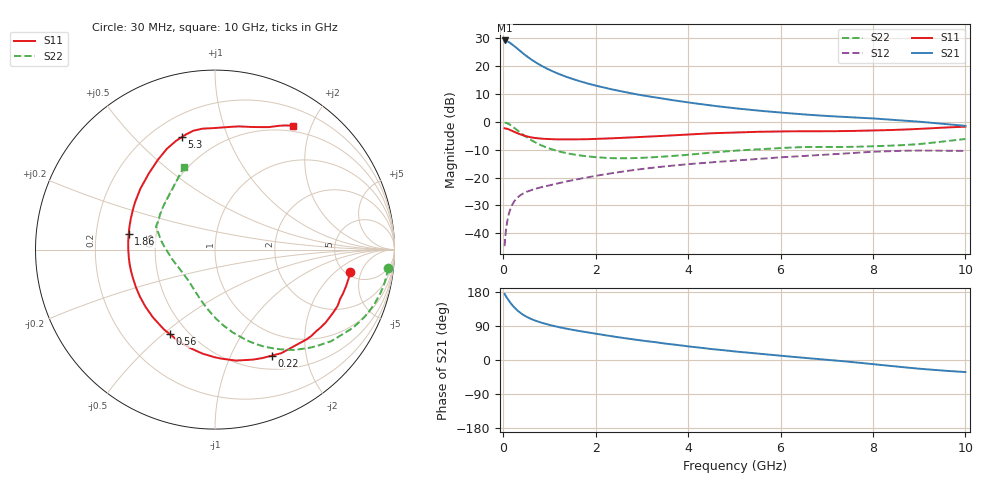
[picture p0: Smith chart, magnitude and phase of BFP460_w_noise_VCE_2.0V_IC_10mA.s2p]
! (c) 2016  Infineon Technologies AG, Munich
! Infineon Technologies  Discrete & RF Semiconductors
! BFP460
! VCE =  2.0 V,  IC =  10 mA
! Common Emitter S-Parameters:  Jan 2016
# GHz  S  MA  R  50
!  f  S11  S21  S12  S22
! GHz  MAG  ANG  MAG  ANG  MAG  ANG  MAG  ANG
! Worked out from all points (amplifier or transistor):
!   229 points, 30 MHz to 10 GHz, reference 50 ohm
!   highest |S21| = 29.1 dB at 30 MHz (marker M1)
!   |S21| within 3 dB of that: start of sweep to 310.8 MHz
!   unconditionally stable (mu >= 1): 2.427 GHz to 8.221 GHz
!   at 280 MHz: K = 0.27, MSG = 27.1 dB, |S12| = -27.7 dB
!   at 1.78 GHz: K = 0.93, MSG = 17.0 dB, |S12| = -20.0 dB
!   at 10 GHz: K = 0.98, MSG = 4.5 dB, |S12| = -10.4 dB
!   lowest NFmin = 0.95 dB at 450 MHz
!   S11 on the Smith chart (normalised r, x): 30 MHz: 5.47, -3.28; 220 MHz: 0.67, -1.45; 560 MHz: 0.40, -0.53; 1.86 GHz: 0.35, +0.08; 5.3 GHz: 0.32, +0.70; 10 GHz: 0.42, +1.74
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0.03  0.7643 -9.4  28.65 174.3  0.0059 85.3  0.9714 -6.2
0.07  0.7494 -21.6  28.16 165.6  0.0134 80.2  0.9539 -14.5
0.12  0.7314 -36.3  26.83 156.8  0.022 72.8  0.9128 -24.4
0.15  0.7142 -44.5  25.84 151.6  0.0266 69.2  0.8815 -29.8
0.2  0.6853 -57.4  24.16 144.0  0.0332 63.8  0.8246 -38.2
0.22  0.6699 -61.9  23.4 141.4  0.0354 61.8  0.7998 -41.0
0.3  0.6293 -79.3  20.65 131.4  0.0432 55.7  0.7095 -52.0
0.4  0.5836 -96.9  17.58 121.7  0.0501 50.6  0.6108 -62.6
0.5  0.5511 -111.1  15.11 114.4  0.0553 47.5  0.5324 -71.0
0.56  0.5345 -117.9  13.93 111.0  0.0578 46.3  0.4948 -75.0
0.7  0.512 -132.5  11.62 103.5  0.063 44.6  0.4233 -83.9
1  0.4883 -154.2  8.517 92.5  0.073 43.8  0.3312 -97.6
1.3  0.4828 -169.3  6.691 84.3  0.0829 44.0  0.2823 -108.1
1.7  0.4854 175.3  5.197 75.3  0.0967 44.1  0.2467 -119.5
1.86  0.4885 170.0  4.772 72.1  0.1024 43.9  0.2381 -123.7
2.6  0.5172 149.7  3.448 58.1  0.1287 41.7  0.2216 -143.0
3.4  0.5554 133.0  2.636 45.2  0.1555 37.3  0.2355 -161.4
5.1  0.6472 108.5  1.716 21.6  0.204 27.6  0.3067 169.7
5.3  0.6536 106.4  1.651 19.4  0.2101 26.5  0.3129 167.8
6.8  0.6765 93.1  1.303 2.8  0.252 17.2  0.3531 157.5
8.4  0.7119 73.7  1.09 -15.9  0.2988 4.2  0.3737 141.3
10  0.8166 57.8  0.846 -31.8  0.3009 -8.0  0.4917 110.6
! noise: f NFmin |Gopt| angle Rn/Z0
0.45  0.95  0.14  16  0.15
0.9  1.19  0.12  58  0.14
1.9  1.15  0.07  152  0.12
3.5  1.18  0.34  -137  0.11
